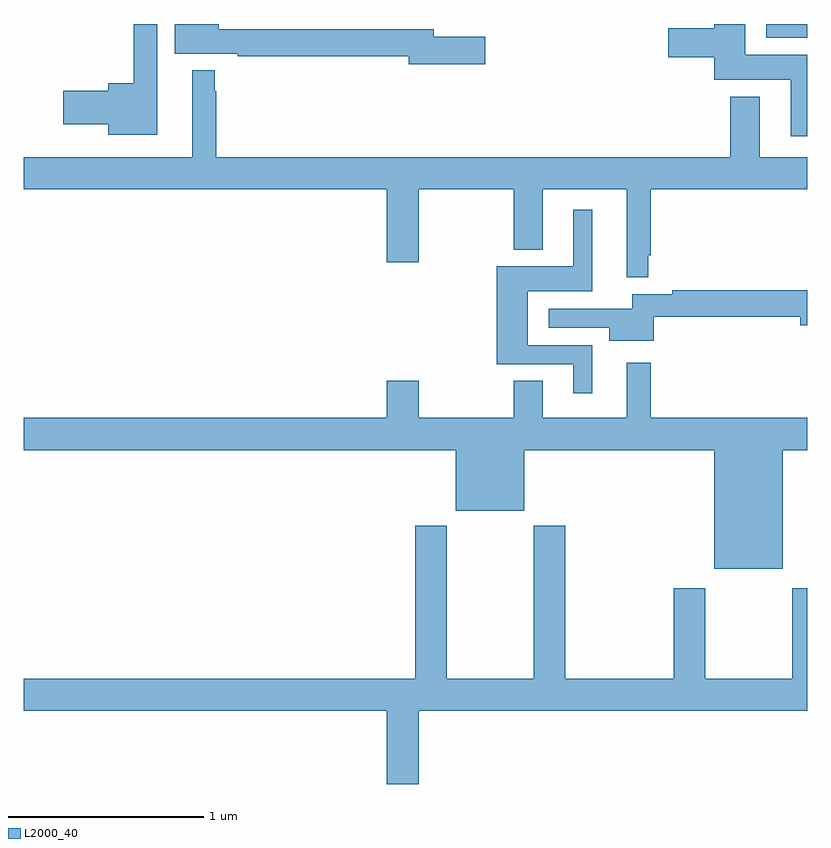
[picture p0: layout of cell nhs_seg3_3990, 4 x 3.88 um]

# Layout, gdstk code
import gdstk
lib = gdstk.Library(unit=1e-6, precision=1e-09)
def R(c, l, rs):  # rectangles x0, y0, x1, y1
    for r in rs: c.add(gdstk.rectangle(r[:2], r[2:], *l))
def P(c, l, *ps):  # polygons
    for p in ps: c.add(gdstk.Polygon(p, *l))
L2000_40 = (2000, 40)

nhs_seg3_3990 = lib.new_cell('nhs_seg3_3990')
R(nhs_seg3_3990, L2000_40, [(322.791,728.331,323,728.4)])
P(nhs_seg3_3990, L2000_40, [(321.355,728.336),(321.094,728.336),(321.094,728.372),(319.996,728.372),(319.996,728.4),(319.769,728.4),(319.769,728.249),(320.092,728.249),(320.092,728.236),(320.966,728.236),(320.966,728.194),(321.355,728.194)],
  [(323,728.242),(322.684,728.242),(322.684,728.4),(322.526,728.4),(322.526,728.378),(322.29,728.378),(322.29,728.231),(322.526,728.231),(322.526,728.114),(322.916,728.114),(322.916,727.827),(323,727.827)],
  [(319.681,728.4),(319.56,728.4),(319.56,728.098),(319.43,728.098),(319.43,728.06),(319.2,728.06),(319.2,727.889),(319.43,727.889),(319.43,727.835),(319.681,727.835)],
  [(322.19,727.219),(322.201,727.219),(322.201,727.556),(323,727.556),(323,727.72),(322.759,727.72),(322.759,728.029),(322.607,728.029),(322.607,727.72),(319.981,727.72),(319.981,728.057),(319.974,728.057),(319.974,728.164),(319.859,728.164),(319.859,727.72),(319,727.72),(319,727.556),(320.852,727.556),(320.852,727.182),(321.016,727.182),(321.016,727.556),(321.502,727.556),(321.502,727.247),(321.649,727.247),(321.649,727.556),(322.079,727.556),(322.079,727.107),(322.19,727.107)],
  [(321.904,726.759),(321.574,726.759),(321.574,727.034),(321.904,727.034),(321.904,727.45),(321.806,727.45),(321.806,727.162),(321.416,727.162),(321.416,726.663),(321.806,726.663),(321.806,726.513),(321.904,726.513)],
  [(322.216,726.904),(322.964,726.904),(322.964,726.862),(323,726.862),(323,727.04),(322.312,727.04),(322.312,727.02),(322.106,727.02),(322.106,726.945),(321.681,726.945),(321.681,726.849),(321.989,726.849),(321.989,726.782),(322.216,726.782)],
  [(322.876,726.224),(323,726.224),(323,726.388),(322.201,726.388),(322.201,726.67),(322.079,726.67),(322.079,726.388),(321.649,726.388),(321.649,726.578),(321.502,726.578),(321.502,726.388),(321.016,726.388),(321.016,726.577),(320.852,726.577),(320.852,726.388),(319,726.388),(319,726.224),(321.206,726.224),(321.206,725.915),(321.556,725.915),(321.556,726.224),(322.526,726.224),(322.526,725.618),(322.876,725.618)],
  [(321.016,724.892),(323,724.892),(323,725.518),(322.924,725.518),(322.924,725.056),(322.479,725.056),(322.479,725.518),(322.319,725.518),(322.319,725.056),(321.764,725.056),(321.764,725.836),(321.604,725.836),(321.604,725.056),(321.159,725.056),(321.159,725.836),(320.999,725.836),(320.999,725.056),(319,725.056),(319,724.892),(320.852,724.892),(320.852,724.518),(321.016,724.518)])

lib.write_gds('nhs_seg3_3990.gds')
